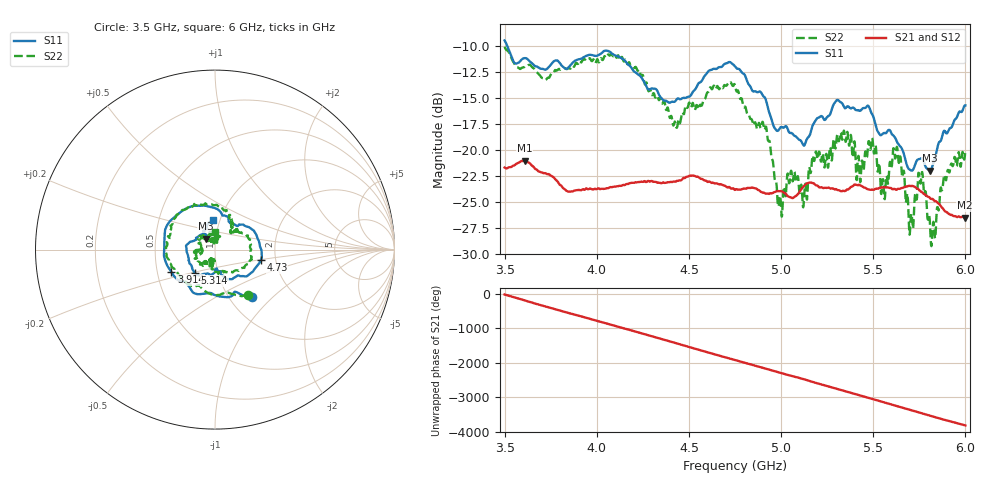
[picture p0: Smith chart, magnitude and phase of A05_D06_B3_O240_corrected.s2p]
! Created with skrf 1.9.0 (http://scikit-rf.org).
# Hz S RI R 50.0
!freq ReS11 ImS11 ReS21 ImS21 ReS12 ImS12 ReS22 ImS22
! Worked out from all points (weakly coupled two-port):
!   1601 points, 3.5 GHz to 6 GHz, reference 50 ohm
!   highest |S21| = -21.04 dB at 3.609 GHz (marker M1); lowest = -26.5 dB at 5.997 GHz (marker M2)
!   lowest |S11| = -22.0 dB at 5.808 GHz (marker M3), VSWR 1.17, Z = 44.9 + j5.52 ohm
!   |S11| at or under -10 dB: 3.514 GHz to end of sweep
!   |S22| runs from -29.3 to -10.1 dB; largest |S21 - S12| = 0.001
!   S11 on the Smith chart (normalised r, x): 3.5 GHz: 1.27, -0.76; 3.914 GHz: 0.59, -0.16; 4.73 GHz: 1.67, -0.21; 5.314 GHz: 0.77, -0.21; 6 GHz: 0.93, +0.31
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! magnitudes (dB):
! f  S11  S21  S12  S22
! 3.5 GHz  -9.5  -21.7  -21.7  -10.1
! 3.609 GHz  -11.2  -21.0  -21.0  -12.0
! 3.914 GHz  -11.3  -23.9  -23.8  -11.6
! 3.917 GHz  -11.2  -23.9  -23.8  -11.6
! 4.127 GHz  -11.1  -23.5  -23.4  -11.3
! 4.334 GHz  -14.6  -23.2  -23.1  -15.1
! 4.427 GHz  -15.3  -23.1  -23.0  -17.4
! 4.73 GHz  -11.6  -23.7  -23.7  -13.6
! 4.75 GHz  -12.0  -23.8  -23.8  -13.8
! 4.911 GHz  -15.0  -24.2  -24.1  -18.1
! 4.994 GHz  -17.9  -24.0  -23.9  -24.5
! 5.062 GHz  -18.5  -24.6  -24.6  -23.0
! 5.13 GHz  -19.5  -23.4  -23.4  -23.4
! 5.167 GHz  -17.9  -23.2  -23.1  -21.1
! 5.314 GHz  -15.3  -23.9  -23.8  -19.2
! 5.584 GHz  -18.1  -23.6  -23.6  -22.5
! 5.638 GHz  -19.5  -23.7  -23.7  -21.2
! 5.706 GHz  -22.0  -23.5  -23.4  -26.1
! 5.758 GHz  -20.8  -24.0  -23.9  -23.1
! 5.808 GHz  -22.0  -24.6  -24.6  -27.1
! 5.997 GHz  -15.7  -26.5  -26.4  -20.6
! 6 GHz  -15.7  -26.5  -26.4  -20.0
